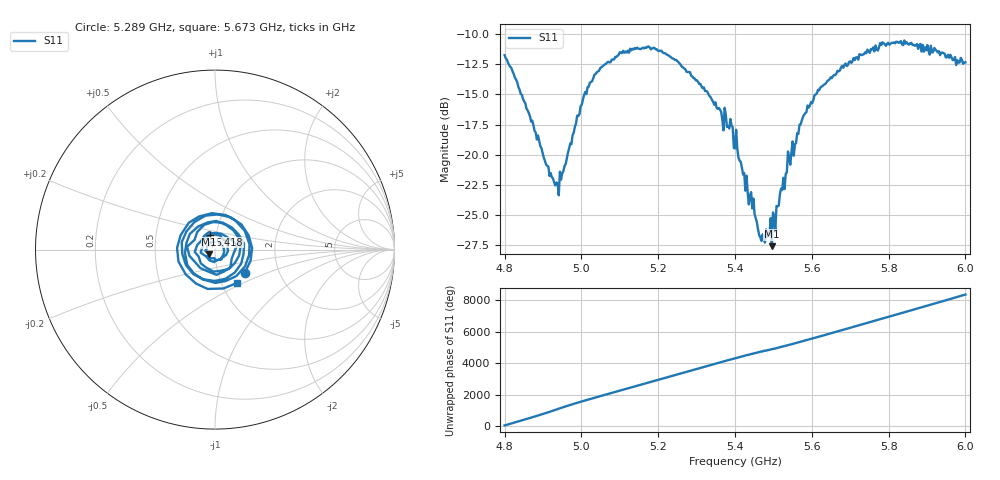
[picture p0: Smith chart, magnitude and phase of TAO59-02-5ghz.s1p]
! NanoVNA-App
! Date: 2026-05-23 15:24:10
! Start: 4.8GHz Stop: 6GHz Points: 401
! S-Parameter data: F S11
# Hz S RI R 50
!  Frequency  S11_Real  S11_Imag
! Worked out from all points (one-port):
!   401 points, 4.8 GHz to 6 GHz, reference 50 ohm
!   lowest |S11| = -27.6 dB at 5.496 GHz (marker M1), VSWR 1.09, Z = 46.9 - j2.55 ohm
!   |S11| at or under -10 dB: start of sweep to end of sweep
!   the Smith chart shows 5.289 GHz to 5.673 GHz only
!   S11 on the Smith chart (normalised r, x): 5.289 GHz: 1.34, -0.37; 5.418 GHz: 0.93, +0.16; 5.673 GHz: 1.19, -0.46
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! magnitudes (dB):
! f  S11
! 4.8 GHz  -11.7
! 4.827 GHz  -13.6
! 4.923 GHz  -21.9
! 4.935 GHz  -22.3
! 4.95 GHz  -21.5
! 5.004 GHz  -15.4
! 5.016 GHz  -14.4
! 5.046 GHz  -13.0
! 5.1 GHz  -11.5
! 5.172 GHz  -11.0
! 5.25 GHz  -12.2
! 5.289 GHz  -13.5
! 5.388 GHz  -17.0
! 5.4 GHz  -19.5
! 5.418 GHz  -21.1
! 5.466 GHz  -26.9
! 5.49 GHz  -26.5
! 5.496 GHz  -27.6
! 5.502 GHz  -25.2
! 5.544 GHz  -20.8
! 5.55 GHz  -18.9
! 5.583 GHz  -16.6
! 5.622 GHz  -14.4
! 5.673 GHz  -13.0
! 5.7 GHz  -12.3
! 5.784 GHz  -10.7
! 5.85 GHz  -10.8
! 6 GHz  -12.3
